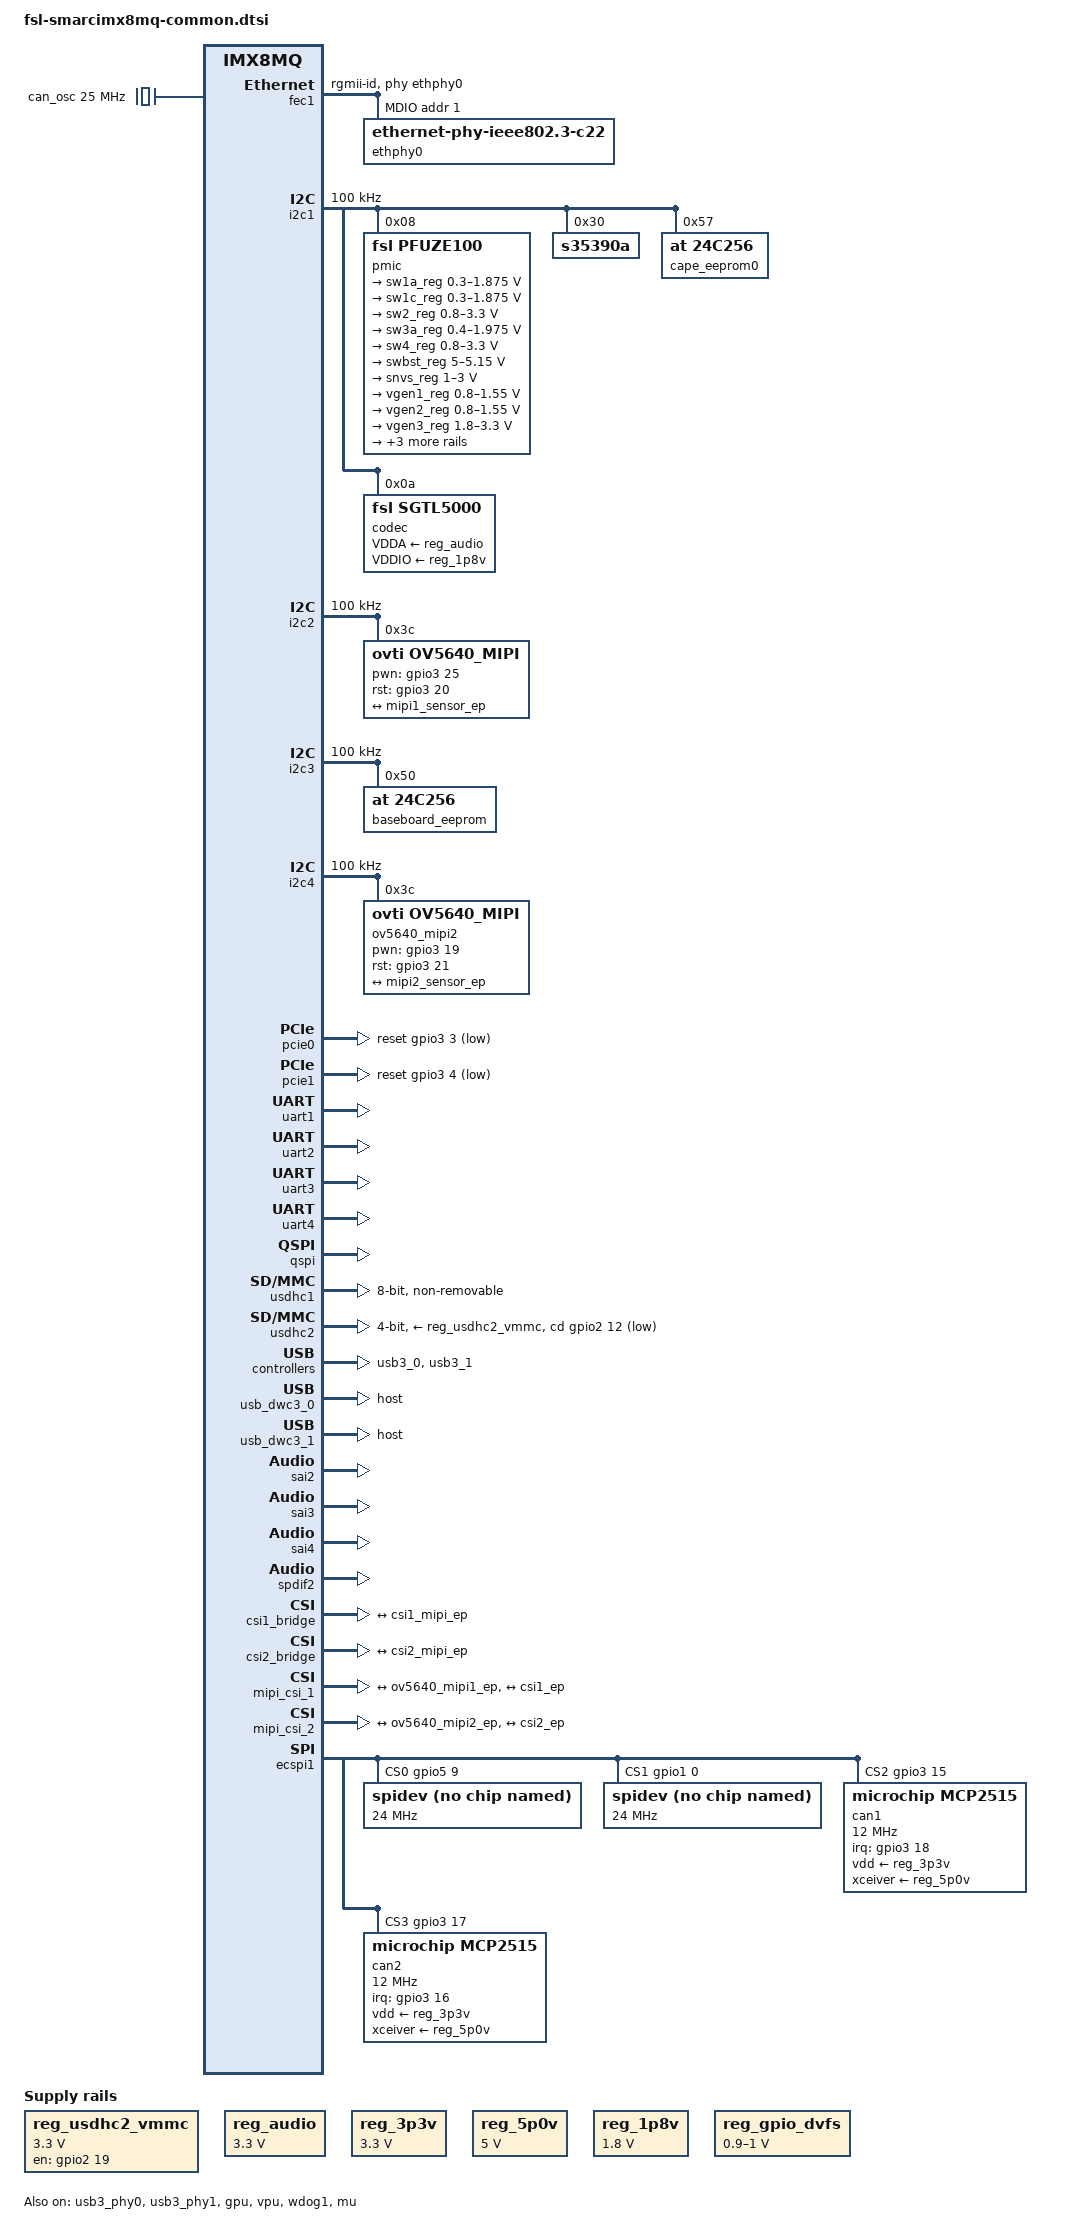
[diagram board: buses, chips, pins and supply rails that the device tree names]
/*
 * Copyright 2017 NXP
 * Copyright 2018-2019 Variscite Ltd.
 *
 * This program is free software; you can redistribute it and/or
 * modify it under the terms of the GNU General Public License
 * as published by the Free Software Foundation; either version 2
 * of the License, or (at your option) any later version.
 *
 * This program is distributed in the hope that it will be useful,
 * but WITHOUT ANY WARRANTY; without even the implied warranty of
 * MERCHANTABILITY or FITNESS FOR A PARTICULAR PURPOSE.  See the
 * GNU General Public License for more details.
 */

/dts-v1/;

#include "../freescale/fsl-imx8mq.dtsi"

/ {
	compatible = "embedian,imx8mq-smarcimx8m", "fsl,imx8mq";

	regulators {
		compatible = "simple-bus";
		#address-cells = <1>;
		#size-cells = <0>;

                reg_usdhc2_vmmc: usdhc2_vmmc {
                        compatible = "regulator-fixed";
                        regulator-name = "VSD_3V3";
                        regulator-min-microvolt = <3300000>;
                        regulator-max-microvolt = <3300000>;
                        gpio = <&gpio2 19 GPIO_ACTIVE_HIGH>;
                        off-on-delay = <20000>;
                        enable-active-high;
                };

		reg_audio: audio_vdd {
			compatible = "regulator-fixed";
			regulator-name = "sgtl5000_supply";
			regulator-min-microvolt = <3300000>;
			regulator-max-microvolt = <3300000>;
			regulator-always-on;
		};

               reg_3p3v: 3p3v {
                        compatible = "regulator-fixed";
                        regulator-name = "3P3V";
                        regulator-min-microvolt = <3300000>;
                        regulator-max-microvolt = <3300000>;
                        regulator-always-on;
                };

                reg_5p0v: 5p0v {
                        compatible = "regulator-fixed";
                        regulator-name = "5P0V";
                        regulator-min-microvolt = <5000000>;
                        regulator-max-microvolt = <5000000>;
                        regulator-always-on;
                };

                reg_1p8v: 1p8v {
                        compatible = "regulator-fixed";
                        regulator-name = "1P8V";
                        regulator-min-microvolt = <1800000>;
                        regulator-max-microvolt = <1800000>;
                        regulator-always-on;
                };

                reg_gpio_dvfs: regulator-gpio {
                        compatible = "regulator-gpio";
                        pinctrl-names = "default";
                        pinctrl-0 = <&pinctrl_dvfs>;
                        regulator-min-microvolt = <900000>;
                        regulator-max-microvolt = <1000000>;
                        regulator-name = "gpio_dvfs";
                        regulator-type = "voltage";
                        gpios = <&gpio1 13 GPIO_ACTIVE_HIGH>;
                        states = <900000 0x1 1000000 0x0>;
                };
	};

        sound-sgtl5000 {
                compatible = "fsl,imx-audio-sgtl5000",
                             "smarc,imx8mq-audio-sgtl5000";
                model = "imx8mq-audio-sgtl5000";
                ssi-controller = <&sai2>;
                audio-codec = <&codec>;
                audio-routing =
                        "MIC_IN", "Mic Jack",
                        "Mic Jack", "Mic Bias",
                        "Headphone Jack", "HP_OUT";
		fsl,no-audmux;
        };

	sound-hdmi {
		compatible = "fsl,imx8mq-evk-cdnhdmi",
				"fsl,imx-audio-cdnhdmi";
		model = "imx-audio-hdmi";
		audio-cpu = <&sai4>;
		protocol = <1>;
		hdmi-out;
		constraint-rate = <44100>,
				<88200>,
				<176400>,
				<32000>,
				<48000>,
				<96000>,
				<192000>;
		status = "disabled";
	};

	sound-hdmi-arc {
		compatible = "fsl,imx-audio-spdif";
		model = "imx-hdmi-arc";
		spdif-controller = <&spdif2>;
		spdif-in;
		status = "disabled";
	};

	backlight: backlight {
		compatible = "pwm-backlight";
                enable-gpios = <&gpio4 0 0>;    /* Backlight Enable */
		pwms = <&pwm1 0 1000000 0>;
		brightness-levels = < 0  1  2  3  4  5  6  7  8  9
				     10 11 12 13 14 15 16 17 18 19
				     20 21 22 23 24 25 26 27 28 29
				     30 31 32 33 34 35 36 37 38 39
				     40 41 42 43 44 45 46 47 48 49
				     50 51 52 53 54 55 56 57 58 59
				     60 61 62 63 64 65 66 67 68 69
				     70 71 72 73 74 75 76 77 78 79
				     80 81 82 83 84 85 86 87 88 89
				     90 91 92 93 94 95 96 97 98 99
				    100>;
		default-brightness-level = <80>;
		status = "disabled";
	};

        /* external oscillator of mcp2515 on SPI1.0 and SPI1.1 */
        can_osc: can_osc {
                compatible = "fixed-clock";
                #clock-cells = <0>;
                clock-frequency  = <25000000>;
        };
};

&clk {
        assigned-clocks = <&clk IMX8MQ_AUDIO_PLL1>, <&clk IMX8MQ_AUDIO_PLL2>;
        assigned-clock-rates = <786432000>, <722534400>;
};

&iomuxc {
	pinctrl-names = "default";
        pinctrl-0 = <&pinctrl_hog>;

	smarcimx8mq {
                pinctrl_hog: hoggrp {
                        fsl,pins = <
                                MX8MQ_IOMUXC_GPIO1_IO03_GPIO1_IO3               0x19    /*RESET_OUT#*/
                                MX8MQ_IOMUXC_GPIO1_IO11_GPIO1_IO11              0x41    /*FEC_IRQ#*/
                                MX8MQ_IOMUXC_NAND_CLE_GPIO3_IO5                 0x41    /*PCIE_WAKE#*/
                               	MX8MQ_IOMUXC_GPIO1_IO09_GPIO1_IO9               0x41    /*LID#*/
                               	MX8MQ_IOMUXC_GPIO1_IO12_GPIO1_IO12              0x41    /*SLEEP#*/
                               	MX8MQ_IOMUXC_NAND_DATA05_GPIO3_IO11		0x41	/*CHARGING#*/
                               	MX8MQ_IOMUXC_SAI2_RXC_GPIO4_IO22               0x41    /*CHARGER_PRSNT#*/
                                MX8MQ_IOMUXC_SAI3_MCLK_GPIO5_IO2                0x19    /*CARRIER_STBY#*/
                               	MX8MQ_IOMUXC_SAI2_RXFS_GPIO4_IO21              	0x41    /*BATLOW#*/
                                MX8MQ_IOMUXC_NAND_DATA04_GPIO3_IO10             0x41    /*USB0_EN_OC#*/
                                MX8MQ_IOMUXC_NAND_DATA06_GPIO3_IO12             0x41    /*USB2_EN_OC#*/
                                MX8MQ_IOMUXC_NAND_DATA07_GPIO3_IO13             0x41    /*USB3_EN_OC#*/
                        >;
                };

                pinctrl_csi1: csi1grp {
                        fsl,pins = <
                                MX8MQ_IOMUXC_SAI5_MCLK_GPIO3_IO25               0x19    /*GPIO0*/
                                MX8MQ_IOMUXC_SAI5_RXC_GPIO3_IO20                0x19    /*GPIO2*/
                                MX8MQ_IOMUXC_GPIO1_IO15_CCMSRCGPCMIX_CLKO2      0x59
                        >;
                };

                pinctrl_csi2: csi2grp {
                        fsl,pins = <
                                MX8MQ_IOMUXC_SAI5_RXFS_GPIO3_IO19               0x19    /*GPIO1*/
                                MX8MQ_IOMUXC_SAI5_RXD0_GPIO3_IO21               0x19    /*GPIO3*/
                                MX8MQ_IOMUXC_GPIO1_IO15_CCMSRCGPCMIX_CLKO2      0x59
                        >;
                };

                pinctrl_fec1: fec1grp {
                        fsl,pins = <
                                MX8MQ_IOMUXC_ENET_MDC_ENET1_MDC         0x3
                                MX8MQ_IOMUXC_ENET_MDIO_ENET1_MDIO       0x23
                                MX8MQ_IOMUXC_ENET_TD3_ENET1_RGMII_TD3   0x1f
                                MX8MQ_IOMUXC_ENET_TD2_ENET1_RGMII_TD2   0x1f
                                MX8MQ_IOMUXC_ENET_TD1_ENET1_RGMII_TD1   0x1f
                                MX8MQ_IOMUXC_ENET_TD0_ENET1_RGMII_TD0   0x1f
                                MX8MQ_IOMUXC_ENET_RD3_ENET1_RGMII_RD3   0x91
                                MX8MQ_IOMUXC_ENET_RD2_ENET1_RGMII_RD2   0x91
                                MX8MQ_IOMUXC_ENET_RD1_ENET1_RGMII_RD1   0x91
                                MX8MQ_IOMUXC_ENET_RD0_ENET1_RGMII_RD0   0x91
                                MX8MQ_IOMUXC_ENET_TXC_ENET1_RGMII_TXC   0x1f
                                MX8MQ_IOMUXC_ENET_RXC_ENET1_RGMII_RXC   0x91
                                MX8MQ_IOMUXC_ENET_RX_CTL_ENET1_RGMII_RX_CTL     0x91
                                MX8MQ_IOMUXC_ENET_TX_CTL_ENET1_RGMII_TX_CTL     0x1f
                        >;
                };

                pinctrl_i2c1: i2c1grp {
                        fsl,pins = <
                                MX8MQ_IOMUXC_I2C1_SCL_I2C1_SCL                  0x4000007f
                                MX8MQ_IOMUXC_I2C1_SDA_I2C1_SDA                  0x4000007f
                        >;
                };

                pinctrl_i2c2: i2c2grp {
                        fsl,pins = <
                                MX8MQ_IOMUXC_I2C2_SCL_I2C2_SCL                  0x4000007f
                                MX8MQ_IOMUXC_I2C2_SDA_I2C2_SDA                  0x4000007f
                        >;
                };

                pinctrl_i2c3: i2c3grp {
                        fsl,pins = <
                                MX8MQ_IOMUXC_I2C3_SCL_I2C3_SCL                  0x4000007f
                                MX8MQ_IOMUXC_I2C3_SDA_I2C3_SDA                  0x4000007f
                        >;
                };

                pinctrl_i2c4: i2c4grp {
                        fsl,pins = <
                                MX8MQ_IOMUXC_I2C4_SCL_I2C4_SCL                  0x4000007f
                                MX8MQ_IOMUXC_I2C4_SDA_I2C4_SDA                  0x4000007f
                        >;
                };

                pinctrl_pcie0: pcie0grp {
                        fsl,pins = <
                                MX8MQ_IOMUXC_NAND_CE2_B_GPIO3_IO3       0x16
                        >;
                };

                pinctrl_pcie1: pcie1grp {
                        fsl,pins = <
                                MX8MQ_IOMUXC_NAND_CE3_B_GPIO3_IO4       0x16
                        >;
                };

                pinctrl_dvfs: dvfsgrp {
                        fsl,pins = <
                                MX8MQ_IOMUXC_GPIO1_IO13_GPIO1_IO13      0x16
                        >;
                };

                pinctrl_typec: typecgrp {
                        fsl,pins = <
                                MX8MQ_IOMUXC_NAND_RE_B_GPIO3_IO15       0x16
                                MX8MQ_IOMUXC_NAND_CE2_B_GPIO3_IO3       0x17059
                        >;
                };

                pinctrl_qspi: qspigrp {
                        fsl,pins = <
                                MX8MQ_IOMUXC_NAND_ALE_QSPI_A_SCLK       0x82
                                MX8MQ_IOMUXC_NAND_CE0_B_QSPI_A_SS0_B    0x82
                                MX8MQ_IOMUXC_NAND_DATA00_QSPI_A_DATA0   0x82
                                MX8MQ_IOMUXC_NAND_DATA01_QSPI_A_DATA1   0x82
                                MX8MQ_IOMUXC_NAND_DATA02_QSPI_A_DATA2   0x82
                                MX8MQ_IOMUXC_NAND_DATA03_QSPI_A_DATA3   0x82

                        >;
                };

                pinctrl_uart1: uart1grp {
                        fsl,pins = <
                                MX8MQ_IOMUXC_UART1_RXD_UART1_DCE_RX             0x49
                                MX8MQ_IOMUXC_UART1_TXD_UART1_DCE_TX             0x49
                        >;
                };

                pinctrl_uart2: uart2grp {
                        fsl,pins = <
                                MX8MQ_IOMUXC_UART2_RXD_UART2_DCE_RX             0x49
                                MX8MQ_IOMUXC_UART2_TXD_UART2_DCE_TX             0x49
				MX8MQ_IOMUXC_UART4_TXD_UART2_DCE_RTS_B		0x49
				MX8MQ_IOMUXC_UART4_RXD_UART2_DCE_CTS_B         	0x49
                        >;
                };

                pinctrl_uart3: uart3grp {
                        fsl,pins = <
                                MX8MQ_IOMUXC_UART3_TXD_UART3_DCE_TX             0x49
                                MX8MQ_IOMUXC_UART3_RXD_UART3_DCE_RX             0x49
                        >;
                };

                pinctrl_uart4: uart4grp {
                        fsl,pins = <
				MX8MQ_IOMUXC_ECSPI2_SCLK_UART4_DCE_RX		0x49
                                MX8MQ_IOMUXC_ECSPI2_MISO_UART4_DCE_CTS_B        0x49
                                MX8MQ_IOMUXC_ECSPI2_SS0_UART4_DCE_RTS_B         0x49
				MX8MQ_IOMUXC_ECSPI2_MOSI_UART4_DCE_TX		0x49
                        >;
                };

                pinctrl_usdhc1: usdhc1grp {
                        fsl,pins = <
                                MX8MQ_IOMUXC_SD1_CLK_USDHC1_CLK                 0x83
                                MX8MQ_IOMUXC_SD1_CMD_USDHC1_CMD                 0xc3
                                MX8MQ_IOMUXC_SD1_DATA0_USDHC1_DATA0             0xc3
                                MX8MQ_IOMUXC_SD1_DATA1_USDHC1_DATA1             0xc3
                                MX8MQ_IOMUXC_SD1_DATA2_USDHC1_DATA2             0xc3
                                MX8MQ_IOMUXC_SD1_DATA3_USDHC1_DATA3             0xc3
                                MX8MQ_IOMUXC_SD1_DATA4_USDHC1_DATA4             0xc3
                                MX8MQ_IOMUXC_SD1_DATA5_USDHC1_DATA5             0xc3
                                MX8MQ_IOMUXC_SD1_DATA6_USDHC1_DATA6             0xc3
                                MX8MQ_IOMUXC_SD1_DATA7_USDHC1_DATA7             0xc3
                                MX8MQ_IOMUXC_SD1_STROBE_USDHC1_STROBE           0x83
                                MX8MQ_IOMUXC_SD1_RESET_B_USDHC1_RESET_B         0xc1
                        >;
                };

                pinctrl_usdhc1_100mhz: usdhc1grp100mhz {
                        fsl,pins = <
                                MX8MQ_IOMUXC_SD1_CLK_USDHC1_CLK                 0x85
                                MX8MQ_IOMUXC_SD1_CMD_USDHC1_CMD                 0xc5
                                MX8MQ_IOMUXC_SD1_DATA0_USDHC1_DATA0             0xc5
                                MX8MQ_IOMUXC_SD1_DATA1_USDHC1_DATA1             0xc5
                                MX8MQ_IOMUXC_SD1_DATA2_USDHC1_DATA2             0xc5
                                MX8MQ_IOMUXC_SD1_DATA3_USDHC1_DATA3             0xc5
                                MX8MQ_IOMUXC_SD1_DATA4_USDHC1_DATA4             0xc5
                                MX8MQ_IOMUXC_SD1_DATA5_USDHC1_DATA5             0xc5
                                MX8MQ_IOMUXC_SD1_DATA6_USDHC1_DATA6             0xc5
                                MX8MQ_IOMUXC_SD1_DATA7_USDHC1_DATA7             0xc5
                                MX8MQ_IOMUXC_SD1_STROBE_USDHC1_STROBE           0x85
                                MX8MQ_IOMUXC_SD1_RESET_B_USDHC1_RESET_B         0xc1
                        >;
                };

                pinctrl_usdhc1_200mhz: usdhc1grp200mhz {
                        fsl,pins = <
                                MX8MQ_IOMUXC_SD1_CLK_USDHC1_CLK                 0x87
                                MX8MQ_IOMUXC_SD1_CMD_USDHC1_CMD                 0xc7
                                MX8MQ_IOMUXC_SD1_DATA0_USDHC1_DATA0             0xc7
                                MX8MQ_IOMUXC_SD1_DATA1_USDHC1_DATA1             0xc7
                                MX8MQ_IOMUXC_SD1_DATA2_USDHC1_DATA2             0xc7
                                MX8MQ_IOMUXC_SD1_DATA3_USDHC1_DATA3             0xc7
                                MX8MQ_IOMUXC_SD1_DATA4_USDHC1_DATA4             0xc7
                                MX8MQ_IOMUXC_SD1_DATA5_USDHC1_DATA5             0xc7
                                MX8MQ_IOMUXC_SD1_DATA6_USDHC1_DATA6             0xc7
                                MX8MQ_IOMUXC_SD1_DATA7_USDHC1_DATA7             0xc7
                                MX8MQ_IOMUXC_SD1_STROBE_USDHC1_STROBE           0x87
                                MX8MQ_IOMUXC_SD1_RESET_B_USDHC1_RESET_B         0xc1
                        >;
                };

                pinctrl_usdhc2_gpio: usdhc2grpgpio {
                        fsl,pins = <
                                MX8MQ_IOMUXC_SD2_CD_B_GPIO2_IO12        0x41
                                MX8MQ_IOMUXC_SD2_RESET_B_GPIO2_IO19     0x41
                        >;
                };

                pinctrl_usdhc2: usdhc2grp {
                        fsl,pins = <
                                MX8MQ_IOMUXC_SD2_CLK_USDHC2_CLK                 0x83
                                MX8MQ_IOMUXC_SD2_CMD_USDHC2_CMD                 0xc3
                                MX8MQ_IOMUXC_SD2_DATA0_USDHC2_DATA0             0xc3
                                MX8MQ_IOMUXC_SD2_DATA1_USDHC2_DATA1             0xc3
                                MX8MQ_IOMUXC_SD2_DATA2_USDHC2_DATA2             0xc3
                                MX8MQ_IOMUXC_SD2_DATA3_USDHC2_DATA3             0xc3
                                MX8MQ_IOMUXC_GPIO1_IO04_USDHC2_VSELECT          0xc1
                        >;
                };

                pinctrl_usdhc2_100mhz: usdhc2grp100mhz {
                        fsl,pins = <
                                MX8MQ_IOMUXC_SD2_CLK_USDHC2_CLK                 0x85
                                MX8MQ_IOMUXC_SD2_CMD_USDHC2_CMD                 0xc5
                                MX8MQ_IOMUXC_SD2_DATA0_USDHC2_DATA0             0xc5
                                MX8MQ_IOMUXC_SD2_DATA1_USDHC2_DATA1             0xc5
                                MX8MQ_IOMUXC_SD2_DATA2_USDHC2_DATA2             0xc5
                                MX8MQ_IOMUXC_SD2_DATA3_USDHC2_DATA3             0xc5
                                MX8MQ_IOMUXC_GPIO1_IO04_USDHC2_VSELECT          0xc1
                        >;
                };

                pinctrl_usdhc2_200mhz: usdhc2grp200mhz {
                        fsl,pins = <
                                MX8MQ_IOMUXC_SD2_CLK_USDHC2_CLK                 0x87
                                MX8MQ_IOMUXC_SD2_CMD_USDHC2_CMD                 0xc7
                                MX8MQ_IOMUXC_SD2_DATA0_USDHC2_DATA0             0xc7
                                MX8MQ_IOMUXC_SD2_DATA1_USDHC2_DATA1             0xc7
                                MX8MQ_IOMUXC_SD2_DATA2_USDHC2_DATA2             0xc7
                                MX8MQ_IOMUXC_SD2_DATA3_USDHC2_DATA3             0xc7
                                MX8MQ_IOMUXC_GPIO1_IO04_USDHC2_VSELECT          0xc1
                        >;
                };

                pinctrl_sai1_pcm: sai1grp_pcm {
                        fsl,pins = <
                                MX8MQ_IOMUXC_SAI1_MCLK_SAI1_MCLK                0xd6
                                MX8MQ_IOMUXC_SAI1_TXFS_SAI1_TX_SYNC             0xd6
                                MX8MQ_IOMUXC_SAI1_RXD7_SAI1_TX_SYNC             0xd6
                                MX8MQ_IOMUXC_SAI1_TXC_SAI1_TX_BCLK              0xd6
                                MX8MQ_IOMUXC_SAI1_TXD0_SAI1_TX_DATA0            0xd6
                                MX8MQ_IOMUXC_SAI1_TXD1_SAI1_TX_DATA1            0xd6
                                MX8MQ_IOMUXC_SAI1_TXD2_SAI1_TX_DATA2            0xd6
                                MX8MQ_IOMUXC_SAI1_TXD3_SAI1_TX_DATA3            0xd6
                                MX8MQ_IOMUXC_SAI1_TXD4_SAI1_TX_DATA4            0xd6
                                MX8MQ_IOMUXC_SAI1_TXD5_SAI1_TX_DATA5            0xd6
                                MX8MQ_IOMUXC_SAI1_TXD6_SAI1_TX_DATA6            0xd6
                                MX8MQ_IOMUXC_SAI1_TXD7_SAI1_TX_DATA7            0xd6
                        >;
                };

                pinctrl_sai1_pcm_b2m: sai1grp_pcm_b2m {
                        fsl,pins = <
                                MX8MQ_IOMUXC_SAI1_MCLK_SAI1_TX_BCLK             0xd6
                                MX8MQ_IOMUXC_SAI1_TXFS_SAI1_TX_SYNC             0xd6
                                MX8MQ_IOMUXC_SAI1_RXD7_SAI1_TX_SYNC             0xd6
                                MX8MQ_IOMUXC_SAI1_TXC_SAI1_TX_BCLK              0xd6
                                MX8MQ_IOMUXC_SAI1_TXD0_SAI1_TX_DATA0            0xd6
                                MX8MQ_IOMUXC_SAI1_TXD1_SAI1_TX_DATA1            0xd6
                                MX8MQ_IOMUXC_SAI1_TXD2_SAI1_TX_DATA2            0xd6
                                MX8MQ_IOMUXC_SAI1_TXD3_SAI1_TX_DATA3            0xd6
                                MX8MQ_IOMUXC_SAI1_TXD4_SAI1_TX_DATA4            0xd6
                                MX8MQ_IOMUXC_SAI1_TXD5_SAI1_TX_DATA5            0xd6
                                MX8MQ_IOMUXC_SAI1_TXD6_SAI1_TX_DATA6            0xd6
                                MX8MQ_IOMUXC_SAI1_TXD7_SAI1_TX_DATA7            0xd6
                        >;
                };

               pinctrl_sai1_dsd: sai1grp_dsd {
                        fsl,pins = <
                                MX8MQ_IOMUXC_SAI1_MCLK_SAI1_MCLK                0xd6
                                MX8MQ_IOMUXC_SAI1_TXFS_SAI1_TX_SYNC             0xd6
                                MX8MQ_IOMUXC_SAI1_RXD7_SAI1_TX_DATA4            0xd6
                                MX8MQ_IOMUXC_SAI1_TXC_SAI1_TX_BCLK              0xd6
                                MX8MQ_IOMUXC_SAI1_TXD0_SAI1_TX_DATA0            0xd6
                                MX8MQ_IOMUXC_SAI1_TXD1_SAI1_TX_DATA1            0xd6
                                MX8MQ_IOMUXC_SAI1_TXD2_SAI1_TX_DATA2            0xd6
                                MX8MQ_IOMUXC_SAI1_TXD3_SAI1_TX_DATA3            0xd6
                                MX8MQ_IOMUXC_SAI1_TXD4_SAI1_TX_DATA4            0xd6
                                MX8MQ_IOMUXC_SAI1_TXD5_SAI1_TX_DATA5            0xd6
                                MX8MQ_IOMUXC_SAI1_TXD6_SAI1_TX_DATA6            0xd6
                                MX8MQ_IOMUXC_SAI1_TXD7_SAI1_TX_DATA7            0xd6
                        >;
                };

                pinctrl_sai2: sai2grp {
                        fsl,pins = <
                                MX8MQ_IOMUXC_SAI2_TXFS_SAI2_TX_SYNC     0xd6
                                MX8MQ_IOMUXC_SAI2_TXC_SAI2_TX_BCLK      0xd6
                                MX8MQ_IOMUXC_SAI2_MCLK_SAI2_MCLK        0xd6
                                MX8MQ_IOMUXC_SAI2_TXD0_SAI2_TX_DATA0    0xd6
                                MX8MQ_IOMUXC_SAI2_RXD0_SAI2_RX_DATA0    0xd6
                        >;
                };

                pinctrl_sai3: sai3grp {
                        fsl,pins = <
                                MX8MQ_IOMUXC_SAI3_TXFS_SAI3_TX_SYNC     0xd6
                                MX8MQ_IOMUXC_SAI3_TXC_SAI3_TX_BCLK      0xd6
                                MX8MQ_IOMUXC_SAI3_TXD_SAI3_TX_DATA0     0xd6
                                MX8MQ_IOMUXC_SAI3_RXD_SAI3_RX_DATA0     0xd6
                        >;
                };

                pinctrl_sai5: sai5grp {
                        fsl,pins = <
                                MX8MQ_IOMUXC_SAI5_MCLK_SAI5_MCLK        0xd6
                                MX8MQ_IOMUXC_SAI5_RXC_SAI5_RX_BCLK      0xd6
                                MX8MQ_IOMUXC_SAI5_RXFS_SAI5_RX_SYNC     0xd6
                                MX8MQ_IOMUXC_SAI5_RXD0_SAI5_RX_DATA0    0xd6
                                MX8MQ_IOMUXC_SAI5_RXD1_SAI5_RX_DATA1    0xd6
                                MX8MQ_IOMUXC_SAI5_RXD2_SAI5_RX_DATA2    0xd6
                                MX8MQ_IOMUXC_SAI5_RXD3_SAI5_RX_DATA3    0xd6
                        >;
                };

                pinctrl_spdif1: spdif1grp {
                        fsl,pins = <
                                MX8MQ_IOMUXC_SPDIF_TX_SPDIF1_OUT        0xd6
                                MX8MQ_IOMUXC_SPDIF_RX_SPDIF1_IN         0xd6
                        >;
                };

                pinctrl_wdog: wdoggrp {
                        fsl,pins = <
                                MX8MQ_IOMUXC_GPIO1_IO02_WDOG1_WDOG_B 	0xc6
                        >;
                };

                pinctrl_pwm1: pwm1grp {
                        fsl,pins = <
                                MX8MQ_IOMUXC_SPDIF_EXT_CLK_PWM1_OUT     0x06
                        >;
                };

                pinctrl_ecspi1: ecspi1grp {
                        fsl,pins = <
                                MX8MQ_IOMUXC_ECSPI1_SCLK_ECSPI1_SCLK            0x16
                                MX8MQ_IOMUXC_ECSPI1_MOSI_ECSPI1_MOSI            0x16
                                MX8MQ_IOMUXC_ECSPI1_MISO_ECSPI1_MISO            0x16
                                MX8MQ_IOMUXC_ECSPI1_SS0_GPIO5_IO9               0x16
                                MX8MQ_IOMUXC_GPIO1_IO00_GPIO1_IO0               0x16
                                MX8MQ_IOMUXC_NAND_RE_B_GPIO3_IO15               0x16
                                MX8MQ_IOMUXC_NAND_WE_B_GPIO3_IO17               0x16
                        >;
                };

                pinctrl_lvds: lvdsgrp {
                        fsl,pins = <
                                MX8MQ_IOMUXC_SAI1_RXD0_GPIO4_IO2          	0x16
                        >;
		};

		pinctrl_hdmi: hdmigrp {
			fsl,pins = <
				MX8MQ_IOMUXC_GPIO1_IO01_GPIO1_IO1		0xc1
			>;
                };
        };
};

&fec1 {
        pinctrl-names = "default";
        pinctrl-0 = <&pinctrl_fec1>;
        phy-mode = "rgmii-id";
        phy-handle = <&ethphy0>;
        fsl,magic-packet;
        status = "okay";

        mdio {
                #address-cells = <1>;
                #size-cells = <0>;

                ethphy0: ethernet-phy@0 {
                        compatible = "ethernet-phy-ieee802.3-c22";
                        reg = <1>;
                        at803x,led-act-blind-workaround;
                        at803x,eee-disabled;
                };
        };
};

&i2c1 {
        clock-frequency = <100000>;
        pinctrl-names = "default";
        pinctrl-0 = <&pinctrl_i2c1>;
        status = "okay";

        pmic: pfuze100@08 {
                compatible = "fsl,pfuze100";
                reg = <0x08>;

                regulators {
                        sw1a_reg: sw1ab {
                                regulator-min-microvolt = <300000>;
                                regulator-max-microvolt = <1875000>;
                        };

                        sw1c_reg: sw1c {
                                regulator-min-microvolt = <300000>;
                                regulator-max-microvolt = <1875000>;
                        };

                        sw2_reg: sw2 {
                                regulator-min-microvolt = <800000>;
                                regulator-max-microvolt = <3300000>;
                                regulator-always-on;
                        };

                        sw3a_reg: sw3ab {
                                regulator-min-microvolt = <400000>;
                                regulator-max-microvolt = <1975000>;
                                regulator-always-on;
                        };

                        sw4_reg: sw4 {
                                regulator-min-microvolt = <800000>;
                                regulator-max-microvolt = <3300000>;
                                regulator-always-on;
                        };

                        swbst_reg: swbst {
                                regulator-min-microvolt = <5000000>;
                                regulator-max-microvolt = <5150000>;
                        };

                        snvs_reg: vsnvs {
                                regulator-min-microvolt = <1000000>;
                                regulator-max-microvolt = <3000000>;
                                regulator-always-on;
                        };

                        vref_reg: vrefddr {
                                regulator-always-on;
                        };

                        vgen1_reg: vgen1 {
                                regulator-min-microvolt = <800000>;
                                regulator-max-microvolt = <1550000>;
                        };

                        vgen2_reg: vgen2 {
                                regulator-min-microvolt = <800000>;
                                regulator-max-microvolt = <1550000>;
                                regulator-always-on;
                        };

                       vgen3_reg: vgen3 {
                                regulator-min-microvolt = <1800000>;
                                regulator-max-microvolt = <3300000>;
                                regulator-always-on;
                        };

                        vgen4_reg: vgen4 {
                                regulator-min-microvolt = <1800000>;
                                regulator-max-microvolt = <3300000>;
                                regulator-always-on;
                        };

                        vgen5_reg: vgen5 {
                                regulator-min-microvolt = <1800000>;
                                regulator-max-microvolt = <3300000>;
                                regulator-always-on;
                        };

                        vgen6_reg: vgen6 {
                                regulator-min-microvolt = <1800000>;
                                regulator-max-microvolt = <3300000>;
                        };
                };
        };

        s35390a: s35390a@30 {
                compatible = "s35390a";
                reg = <0x30>;
        };

        cape_eeprom0: cape_eeprom@57 {
                compatible = "at,24c256";
                reg = <0x57>;
        };

        codec: sgtl5000@0a {
                compatible = "fsl,sgtl5000";
                reg = <0x0a>;
                clocks = <&clk IMX8MQ_CLK_SAI2_ROOT>;
                clock-names = "mclk";
                VDDA-supply = <&reg_audio>;
                VDDIO-supply = <&reg_1p8v>;
                status = "okay";
        };
};

&i2c2 {
        clock-frequency = <100000>;
        pinctrl-names = "default";
        pinctrl-0 = <&pinctrl_i2c2>;
        status = "okay";

        dsi_lvds_bridge: sn65dsi84@2c {
                status = "disabled";
                reg = <0x2c>;
                compatible = "ti,sn65dsi84";
                enable-gpios = <&gpio4 28 GPIO_ACTIVE_HIGH>;
                interrupt-parent = <&gpio4>;
                interrupts = <29 IRQ_TYPE_EDGE_FALLING>;

                /* AUO G070VW01 7-inch 800x480 LVDS Display */
               	sn65dsi84,addresses = < 0x09 0x0A 0x0B 0x0D 0x10 0x11 0x12 0x13
                                        0x18 0x19 0x1A 0x1B 0x20 0x21 0x22 0x23
                                        0x24 0x25 0x26 0x27 0x28 0x29 0x2A 0x2B
                                        0x2C 0x2D 0x2E 0x2F 0x30 0x31 0x32 0x33
                                        0x34 0x35 0x36 0x37 0x38 0x39 0x3A 0x3B
                                        0x3C 0x3D 0x3E 0xE0 0x0D>;

                sn65dsi84,values =    < 0x00 0x01 0x10 0x00 0x26 0x00 0x13 0x00
                                        0x78 0x00 0x03 0x00 0x20 0x03 0x00 0x00
                                        0x00 0x00 0x00 0x00 0x21 0x00 0x00 0x00
                                        0x80 0x00 0x00 0x00 0x0e 0x00 0x00 0x00
                                        0x40 0x00 0x00 0x00 0x00 0x00 0x00 0x00
                                        0x00 0x00 0x00 0x01 0x01>;

                /* AUO G185XW01 18.5-inch 1366x768 LVDS Display */
               	/*sn65dsi84,addresses = < 0x09 0x0A 0x0B 0x0D 0x10 0x11 0x12 0x13
                                        0x18 0x19 0x1A 0x1B 0x20 0x21 0x22 0x23
                                        0x24 0x25 0x26 0x27 0x28 0x29 0x2A 0x2B
                                        0x2C 0x2D 0x2E 0x2F 0x30 0x31 0x32 0x33
                                        0x34 0x35 0x36 0x37 0x38 0x39 0x3A 0x3B
                                        0x3C 0x3D 0x3E 0xE0 0x0D>;

                sn65dsi84,values =    < 0x00 0x05 0x10 0x00 0x26 0x00 0x2E 0x00
                                        0x78 0x00 0x03 0x00 0x56 0x05 0x00 0x00
                                        0x00 0x00 0x00 0x00 0x21 0x00 0x00 0x00
                                        0x78 0x00 0x00 0x00 0x12 0x00 0x00 0x00
                                        0x3C 0x00 0x00 0x00 0x00 0x00 0x00 0x00
                                        0x00 0x00 0x00 0x01 0x01>;*/

                /* AUO G240HW01 V0 24-inch 1920x1080 LVDS Display */
               	/*sn65dsi84,addresses = < 0x09 0x0A 0x0B 0x0D 0x10 0x11 0x12 0x13
                                        0x18 0x19 0x1A 0x1B 0x20 0x21 0x22 0x23
                                        0x24 0x25 0x26 0x27 0x28 0x29 0x2A 0x2B
                                        0x2C 0x2D 0x2E 0x2F 0x30 0x31 0x32 0x33
                                        0x34 0x35 0x36 0x37 0x38 0x39 0x3A 0x3B
                                        0x3C 0x3D 0x3E 0xE0 0x0D>;

                sn65dsi84,values =    < 0x00 0x05 0x20 0x00 0x26 0x00 0x4E 0x00
                                        0x6C 0x00 0x03 0x00 0x80 0x07 0x00 0x00
                                        0x00 0x00 0x00 0x00 0xC3 0x00 0x00 0x00
                                        0x32 0x00 0x00 0x00 0x14 0x00 0x00 0x00
                                        0x19 0x00 0x00 0x00 0x00 0x00 0x00 0x00
                                        0x00 0x00 0x00 0x01 0x01>;*/
        };

        ov5640_mipi: ov5640_mipi@3c {
                compatible = "ovti,ov5640_mipi";
                reg = <0x3c>;
                status = "okay";
                pinctrl-names = "default";
                pinctrl-0 = <&pinctrl_csi1>;
                clocks = <&clk IMX8MQ_CLK_CLKO2>;
                clock-names = "csi_mclk";
                assigned-clocks = <&clk IMX8MQ_CLK_CLKO2>;
                assigned-clock-parents = <&clk IMX8MQ_SYS2_PLL_200M>;
                assigned-clock-rates = <20000000>;
                csi_id = <0>;
                pwn-gpios = <&gpio3 25 GPIO_ACTIVE_HIGH>;       /*GPIO0*/
                rst-gpios = <&gpio3 20 GPIO_ACTIVE_HIGH>;       /*GPIO2*/
                mclk = <20000000>;
                mclk_source = <0>;
                port {
                        ov5640_mipi1_ep: endpoint {
                                remote-endpoint = <&mipi1_sensor_ep>;
                        };
                };
        };
};

&i2c3 {
        clock-frequency = <100000>;
        pinctrl-names = "default";
        pinctrl-0 = <&pinctrl_i2c3>;
        status = "okay";

        baseboard_eeprom: baseboard_eeprom@50 {
                compatible = "at,24c256";
                reg = <0x50>;
        };
};

&i2c4 {
        clock-frequency = <100000>;
        pinctrl-names = "default";
        pinctrl-0 = <&pinctrl_i2c4>;
        status = "okay";

        ov5640_mipi2: ov5640_mipi2@3c {
                compatible = "ovti,ov5640_mipi";
                reg = <0x3c>;
                status = "okay";
                pinctrl-names = "default";
                pinctrl-0 = <&pinctrl_csi2>;
                clocks = <&clk IMX8MQ_CLK_CLKO2>;
                clock-names = "csi_mclk";
                assigned-clocks = <&clk IMX8MQ_CLK_CLKO2>;
                assigned-clock-parents = <&clk IMX8MQ_SYS2_PLL_200M>;
                assigned-clock-rates = <20000000>;
                csi_id = <1>;
                pwn-gpios = <&gpio3 19 GPIO_ACTIVE_HIGH>;       /*GPIO1*/
                rst-gpios = <&gpio3 21 GPIO_ACTIVE_HIGH>;       /*GPIO3*/
                mclk = <20000000>;
                mclk_source = <0>;
                port {
                        ov5640_mipi2_ep: endpoint {
                                remote-endpoint = <&mipi2_sensor_ep>;
                        };
                };
        };
};

&pcie0 {
	pinctrl-names = "default";
	pinctrl-0 = <&pinctrl_pcie0>;
        reset-gpio = <&gpio3 3 GPIO_ACTIVE_LOW>;
	ext_osc = <1>;
	status = "okay";
};

&pcie1 {
	pinctrl-names = "default";
	pinctrl-0 = <&pinctrl_pcie1>;
	reset-gpio = <&gpio3 4 GPIO_ACTIVE_LOW>;
	ext_osc = <1>;
	status = "okay";
};

/* SER3 */
&uart1 {
        pinctrl-names = "default";
        pinctrl-0 = <&pinctrl_uart1>;
        assigned-clocks = <&clk IMX8MQ_CLK_UART1>;
        assigned-clock-parents = <&clk IMX8MQ_CLK_25M>;
        status = "okay";
};

/* SER2 */
&uart2 {
        pinctrl-names = "default";
        pinctrl-0 = <&pinctrl_uart2>;
        assigned-clocks = <&clk IMX8MQ_CLK_UART2>;
        assigned-clock-parents = <&clk IMX8MQ_SYS1_PLL_80M>;
        fsl,uart-has-rtscts;
        status = "okay";
};

/* SER1 */
&uart3 {
        pinctrl-names = "default";
        pinctrl-0 = <&pinctrl_uart3>;
        assigned-clocks = <&clk IMX8MQ_CLK_UART3>;
        assigned-clock-parents = <&clk IMX8MQ_CLK_25M>;
        status = "okay";
};

/* SER0 */
&uart4 {
        pinctrl-names = "default";
        pinctrl-0 = <&pinctrl_uart4>;
        assigned-clocks = <&clk IMX8MQ_CLK_UART4>;
        assigned-clock-parents = <&clk IMX8MQ_SYS1_PLL_80M>;
        fsl,uart-has-rtscts;
        status = "okay";
};

&qspi {
        pinctrl-names = "default";
        pinctrl-0 = <&pinctrl_qspi>;
        status = "okay";
};

/* eMMC */
&usdhc1 {
        pinctrl-names = "default", "state_100mhz", "state_200mhz";
        pinctrl-0 = <&pinctrl_usdhc1>;
        pinctrl-1 = <&pinctrl_usdhc1_100mhz>;
        pinctrl-2 = <&pinctrl_usdhc1_200mhz>;
        bus-width = <8>;
        non-removable;
        status = "okay";
};

&usdhc2 {
        pinctrl-names = "default";
        pinctrl-0 = <&pinctrl_usdhc2>, <&pinctrl_usdhc2_gpio>;
        bus-width = <4>;
        cd-gpios = <&gpio2 12 GPIO_ACTIVE_LOW>;
        vmmc-supply = <&reg_usdhc2_vmmc>;
        status = "okay";
};

&usb3_phy0 {
	status = "okay";
};

&usb3_0 {
	status = "okay";
};

&usb_dwc3_0 {
	status = "okay";
	dr_mode = "host";
};

&usb3_phy1 {
	status = "okay";
};

&usb3_1 {
	status = "okay";
};

&usb_dwc3_1 {
	status = "okay";
	dr_mode = "host";
};

&sai2 {
        pinctrl-names = "default";
        pinctrl-0 = <&pinctrl_sai2>;
        assigned-clocks = <&clk IMX8MQ_CLK_SAI2>;
        assigned-clock-parents = <&clk IMX8MQ_AUDIO_PLL1_OUT>;
        assigned-clock-rates = <24576000>;
        status = "okay";
};

&sai3 {
	pinctrl-names = "default";
	pinctrl-0 = <&pinctrl_sai3>;
	assigned-clocks = <&clk IMX8MQ_CLK_SAI3>;
	assigned-clock-parents = <&clk IMX8MQ_AUDIO_PLL1_OUT>;
	assigned-clock-rates = <24576000>;
	status = "okay";
};

&sai4 {
        assigned-clocks = <&clk IMX8MQ_CLK_SAI4>;
        assigned-clock-parents = <&clk IMX8MQ_AUDIO_PLL1_OUT>;
        assigned-clock-rates = <24576000>;
        clocks = <&clk IMX8MQ_CLK_SAI4_IPG>, <&clk IMX8MQ_CLK_DUMMY>,
                <&clk IMX8MQ_CLK_SAI4_ROOT>, <&clk IMX8MQ_CLK_DUMMY>,
                <&clk IMX8MQ_CLK_DUMMY>, <&clk IMX8MQ_AUDIO_PLL1_OUT>,
                <&clk IMX8MQ_AUDIO_PLL2_OUT>;
        clock-names = "bus", "mclk0", "mclk1", "mclk2", "mclk3", "pll8k", "pll11k";
        status = "okay";
};

&spdif2 {
        assigned-clocks = <&clk IMX8MQ_CLK_SPDIF2>;
        assigned-clock-parents = <&clk IMX8MQ_AUDIO_PLL1_OUT>;
        assigned-clock-rates = <24576000>;
        status = "okay";
};

&gpu_pd {
	power-supply = <&sw1a_reg>;
};

&vpu_pd {
	power-supply = <&sw1c_reg>;
};

&gpu {
	status = "okay";
};

&vpu {
	status = "okay";
};

&wdog1 {
	pinctrl-names = "default";
	pinctrl-0 = <&pinctrl_wdog>;
        fsl,ext-reset-output;
	status = "okay";
};

&mu {
	status = "okay";
};

&resmem {
        /* cma region is provided by kernel command line as cma=<size>M */
        /delete-node/ linux,cma;

        /delete-node/ rpmsg@0xb8000000;
        rpmsg_reserved: rpmsg@0x40000000 {
                no-map;
                reg = <0 0x40000000 0 0x400000>;
        };
};

&A53_0 {
	operating-points = <
		/* kHz    uV */
		1500000 1000000
		1300000 1000000
		1000000 900000
		800000  900000
	>;
};

&csi1_bridge {
	fsl,mipi-mode;
	fsl,two-8bit-sensor-mode;
	status = "okay";

	port {
		csi1_ep: endpoint {
			remote-endpoint = <&csi1_mipi_ep>;
		};
	};
};

&csi2_bridge {
	fsl,mipi-mode;
	fsl,two-8bit-sensor-mode;
	status = "okay";

	port {
		csi2_ep: endpoint {
			remote-endpoint = <&csi2_mipi_ep>;
		};
	};
};

&mipi_csi_1 {
	#address-cells = <1>;
	#size-cells = <0>;
	status = "okay";
	port {
		mipi1_sensor_ep: endpoint1 {
			remote-endpoint = <&ov5640_mipi1_ep>;
			data-lanes = <1 2>;
		};

		csi1_mipi_ep: endpoint2 {
			remote-endpoint = <&csi1_ep>;
		};
	};
};

&mipi_csi_2 {
	#address-cells = <1>;
	#size-cells = <0>;
	status = "okay";
	port {
		mipi2_sensor_ep: endpoint1 {
			remote-endpoint = <&ov5640_mipi2_ep>;
			data-lanes = <1 2 3 4>;
		};

		csi2_mipi_ep: endpoint2 {
			remote-endpoint = <&csi2_ep>;
		};
	};
};

&mipi_dsi_bridge {
	status = "disabled";

       	panel@0 {
                reg = <0>;
                status = "okay";
                /* AUO G070VW01 800x480 LVDS Display */
               	compatible = "auo,g070vw01";
                /* AUO G185XW01 1366x768 LVDS Display */
                /*compatible = "auo,g185xw01";*/
                /* AUO G240HW01 1920x1080 LVDS Display */
               	/*compatible = "auo,g240hw01";*/
               	backlight = <&backlight>;
                enable-gpios = <&gpio4 1 0>;   	/* Enable LCD_VDD_EN pin */
               	dsi-lanes = <4>;
                /* AUO G070VW01 800x480 LVDS Display */
               	panel-width-mm  = <152>;
                panel-height-mm = <91>;
                /* AUO G185XW01 1366x768 LVDS Display */
               	/*panel-width-mm  = <410>;
                panel-height-mm = <230>;*/
                /* AUO G240HW01 1920x1080 LVDS Display */
               	/*panel-width-mm  = <531>;
                panel-height-mm = <299>;*/

               	delay,prepare = <120>;

               	port {
                        panel_in: endpoint {
                                remote-endpoint = <&mipi_dsi_bridge_out>;
                        };
                };
       	};

	port@1 {
		mipi_dsi_bridge_out: endpoint {
			remote-endpoint = <&panel_in>;
		};
	};
};

&ecspi1 {
        #address-cells = <1>;
        #size-cells = <0>;
        pinctrl-names = "default";
        pinctrl-0 = <&pinctrl_ecspi1>;
        cs-gpios = <&gpio5 9 0>, <&gpio1 0 0>, <&gpio3 15 0>, <&gpio3 17 0>;
        fsl,spi-num-chipselects = <4>;
        status = "okay";

        spidev@0 {
                compatible = "rohm,dh2228fv";
                reg = <0>;
                spi-max-frequency = <24000000>;
                };

        spidev@1 {
                compatible = "rohm,dh2228fv";
                reg = <1>;
                spi-max-frequency = <24000000>;
                };

        can1: can@2 {
                compatible = "microchip,mcp2515";
                reg = <2>;
               	interrupt-parent = <&gpio3>;
               	interrupts = <18 IRQ_TYPE_EDGE_FALLING>;
                spi-max-frequency = <12000000>;
                clocks = <&can_osc>;
                vdd-supply = <&reg_3p3v>;
                xceiver-supply = <&reg_5p0v>;
        };

        can2: can@3 {
                compatible = "microchip,mcp2515";
                reg = <3>;
               	interrupt-parent = <&gpio3>;
               	interrupts = <16 IRQ_TYPE_EDGE_FALLING>;
                spi-max-frequency = <12000000>;
                clocks = <&can_osc>;
                vdd-supply = <&reg_3p3v>;
                xceiver-supply = <&reg_5p0v>;
        };
};

&pwm1 {
	pinctrl-names = "default";
	pinctrl-0 = <&pinctrl_pwm1>;
};

&snvs_rtc {
	status = "disabled";
};
